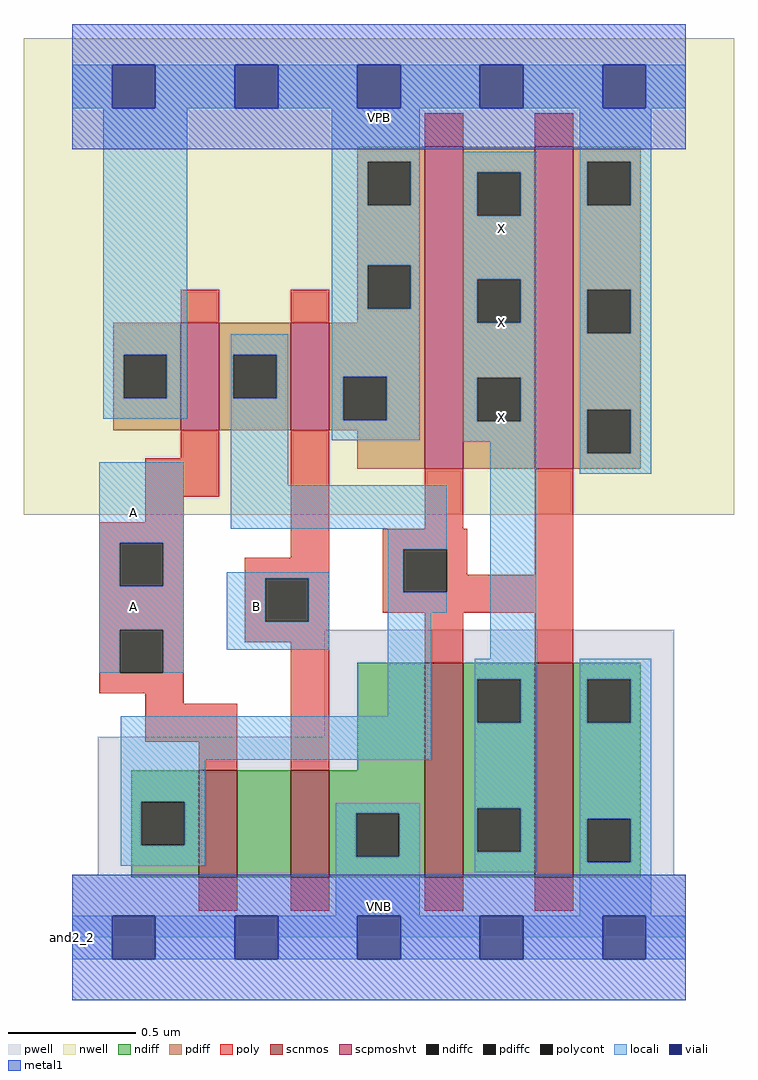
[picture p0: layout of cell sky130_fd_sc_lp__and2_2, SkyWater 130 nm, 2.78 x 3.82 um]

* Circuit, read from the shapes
.subckt sky130_fd_sc_lp__and2_2 A B VGND VNB VPB VPWR X
XM1 n1 A n2 VNB sky130_fd_pr__nfet_01v8 w=0.42 l=0.15
XM2 VGND B n1 VNB sky130_fd_pr__nfet_01v8 w=0.42 l=0.15
XM3 X n2 VGND VNB sky130_fd_pr__nfet_01v8 w=0.84 l=0.15 m=2
XM4 n2 A VPWR VPB sky130_fd_pr__pfet_01v8_hvt w=0.42 l=0.15
XM5 VPWR B n2 VPB sky130_fd_pr__pfet_01v8_hvt w=0.42 l=0.15
XM6 X n2 VPWR VPB sky130_fd_pr__pfet_01v8_hvt w=1.26 l=0.15 m=2
.ends

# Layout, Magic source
magic
tech sky130A
magscale 1 2
<< nwell >>
rect -38 331 518 704
<< pwell >>
rect 197 157 471 241
rect 20 49 471 157
rect 0 0 480 49
<< scnmos >>
rect 99 47 129 131
rect 171 47 201 131
rect 276 47 306 215
rect 362 47 392 215
<< scpmoshvt >>
rect 85 397 115 481
rect 171 397 201 481
rect 276 367 306 619
rect 362 367 392 619
<< ndiff >>
rect 223 131 276 215
rect 46 106 99 131
rect 46 72 54 106
rect 88 72 99 106
rect 46 47 99 72
rect 129 47 171 131
rect 201 97 276 131
rect 201 63 222 97
rect 256 63 276 97
rect 201 47 276 63
rect 306 202 362 215
rect 306 168 317 202
rect 351 168 362 202
rect 306 101 362 168
rect 306 67 317 101
rect 351 67 362 101
rect 306 47 362 67
rect 392 202 445 215
rect 392 168 403 202
rect 437 168 445 202
rect 392 93 445 168
rect 392 59 403 93
rect 437 59 445 93
rect 392 47 445 59
<< pdiff >>
rect 223 607 276 619
rect 223 573 231 607
rect 265 573 276 607
rect 223 526 276 573
rect 223 492 231 526
rect 265 492 276 526
rect 223 481 276 492
rect 32 456 85 481
rect 32 422 40 456
rect 74 422 85 456
rect 32 397 85 422
rect 115 456 171 481
rect 115 422 126 456
rect 160 422 171 456
rect 115 397 171 422
rect 201 439 276 481
rect 201 405 212 439
rect 246 405 276 439
rect 201 397 276 405
rect 223 367 276 397
rect 306 599 362 619
rect 306 565 317 599
rect 351 565 362 599
rect 306 515 362 565
rect 306 481 317 515
rect 351 481 362 515
rect 306 438 362 481
rect 306 404 317 438
rect 351 404 362 438
rect 306 367 362 404
rect 392 607 445 619
rect 392 573 403 607
rect 437 573 445 607
rect 392 507 445 573
rect 392 473 403 507
rect 437 473 445 507
rect 392 413 445 473
rect 392 379 403 413
rect 437 379 445 413
rect 392 367 445 379
<< ndiffc >>
rect 54 72 88 106
rect 222 63 256 97
rect 317 168 351 202
rect 317 67 351 101
rect 403 168 437 202
rect 403 59 437 93
<< pdiffc >>
rect 231 573 265 607
rect 231 492 265 526
rect 40 422 74 456
rect 126 422 160 456
rect 212 405 246 439
rect 317 565 351 599
rect 317 481 351 515
rect 317 404 351 438
rect 403 573 437 607
rect 403 473 437 507
rect 403 379 437 413
<< poly >>
rect 276 619 306 645
rect 362 619 392 645
rect 85 481 115 507
rect 171 481 201 507
rect 85 375 115 397
rect 57 345 115 375
rect 57 325 87 345
rect 21 309 87 325
rect 21 275 37 309
rect 71 275 87 309
rect 171 297 201 397
rect 276 320 306 367
rect 21 241 87 275
rect 21 207 37 241
rect 71 207 87 241
rect 135 281 201 297
rect 135 247 151 281
rect 185 247 201 281
rect 243 304 309 320
rect 243 270 259 304
rect 293 284 309 304
rect 362 284 392 367
rect 293 270 392 284
rect 243 254 392 270
rect 135 231 201 247
rect 21 191 87 207
rect 57 183 87 191
rect 57 153 129 183
rect 99 131 129 153
rect 171 131 201 231
rect 276 215 306 254
rect 362 215 392 254
rect 99 21 129 47
rect 171 21 201 47
rect 276 21 306 47
rect 362 21 392 47
<< polycont >>
rect 37 275 71 309
rect 37 207 71 241
rect 151 247 185 281
rect 259 270 293 304
<< locali >>
rect 0 649 31 683
rect 65 649 127 683
rect 161 649 223 683
rect 257 649 319 683
rect 353 649 415 683
rect 449 649 480 683
rect 24 456 90 649
rect 203 607 272 649
rect 203 573 231 607
rect 265 573 272 607
rect 203 526 272 573
rect 203 492 231 526
rect 265 492 272 526
rect 24 422 40 456
rect 74 422 90 456
rect 24 406 90 422
rect 124 456 169 472
rect 124 422 126 456
rect 160 422 169 456
rect 21 309 87 372
rect 124 354 169 422
rect 203 439 272 492
rect 203 405 212 439
rect 246 405 272 439
rect 203 389 272 405
rect 306 599 363 615
rect 306 565 317 599
rect 351 565 363 599
rect 306 515 363 565
rect 306 481 317 515
rect 351 481 363 515
rect 306 438 363 481
rect 306 404 317 438
rect 351 404 363 438
rect 306 388 363 404
rect 124 320 293 354
rect 21 275 37 309
rect 71 275 87 309
rect 247 304 293 320
rect 21 241 87 275
rect 21 207 37 241
rect 71 207 87 241
rect 121 281 201 286
rect 121 247 151 281
rect 185 247 201 281
rect 121 225 201 247
rect 247 270 259 304
rect 247 254 293 270
rect 247 173 281 254
rect 327 218 363 388
rect 397 607 453 649
rect 397 573 403 607
rect 437 573 453 607
rect 397 507 453 573
rect 397 473 403 507
rect 437 473 453 507
rect 397 413 453 473
rect 397 379 403 413
rect 437 379 453 413
rect 397 363 453 379
rect 38 139 281 173
rect 315 202 363 218
rect 315 168 317 202
rect 351 168 363 202
rect 38 106 104 139
rect 38 72 54 106
rect 88 72 104 106
rect 38 56 104 72
rect 206 97 272 105
rect 206 63 222 97
rect 256 63 272 97
rect 206 17 272 63
rect 315 101 363 168
rect 315 67 317 101
rect 351 67 363 101
rect 315 51 363 67
rect 397 202 453 218
rect 397 168 403 202
rect 437 168 453 202
rect 397 93 453 168
rect 397 59 403 93
rect 437 59 453 93
rect 397 17 453 59
rect 0 -17 31 17
rect 65 -17 127 17
rect 161 -17 223 17
rect 257 -17 319 17
rect 353 -17 415 17
rect 449 -17 480 17
<< viali >>
rect 31 649 65 683
rect 127 649 161 683
rect 223 649 257 683
rect 319 649 353 683
rect 415 649 449 683
rect 31 -17 65 17
rect 127 -17 161 17
rect 223 -17 257 17
rect 319 -17 353 17
rect 415 -17 449 17
<< metal1 >>
rect 0 683 480 715
rect 0 649 31 683
rect 65 649 127 683
rect 161 649 223 683
rect 257 649 319 683
rect 353 649 415 683
rect 449 649 480 683
rect 0 617 480 649
rect 0 17 480 49
rect 0 -17 31 17
rect 65 -17 127 17
rect 161 -17 223 17
rect 257 -17 319 17
rect 353 -17 415 17
rect 449 -17 480 17
rect 0 -49 480 -17
<< labels >>
flabel pwell s 0 0 480 49 0 FreeSans 200 0 0 0 VNB
port 4 nsew ground bidirectional
flabel nwell s 0 617 480 666 0 FreeSans 200 0 0 0 VPB
port 5 nsew power bidirectional
rlabel comment s 0 0 0 0 4 and2_2
flabel metal1 s 0 617 480 666 0 FreeSans 340 0 0 0 VPWR
port 6 nsew power bidirectional
flabel metal1 s 0 0 480 49 0 FreeSans 340 0 0 0 VGND
port 3 nsew ground bidirectional
flabel locali s 319 390 353 424 0 FreeSans 340 0 0 0 X
port 7 nsew signal output
flabel locali s 319 464 353 498 0 FreeSans 340 0 0 0 X
port 7 nsew signal output
flabel locali s 319 538 353 572 0 FreeSans 340 0 0 0 X
port 7 nsew signal output
flabel locali s 31 242 65 276 0 FreeSans 340 0 0 0 A
port 1 nsew signal input
flabel locali s 31 316 65 350 0 FreeSans 340 0 0 0 A
port 1 nsew signal input
flabel locali s 127 242 161 276 0 FreeSans 340 0 0 0 B
port 2 nsew signal input
<< properties >>
string LEFsite unit
string LEFclass CORE
string FIXED_BBOX 0 0 480 666
string GDS_FILE $PDKPATH/libs.ref/sky130_fd_sc_lp/gds/sky130_fd_sc_lp.gds
string LEFsymmetry X Y R90
string GDS_END 3537652
string GDS_START 3532436
<< end >>
